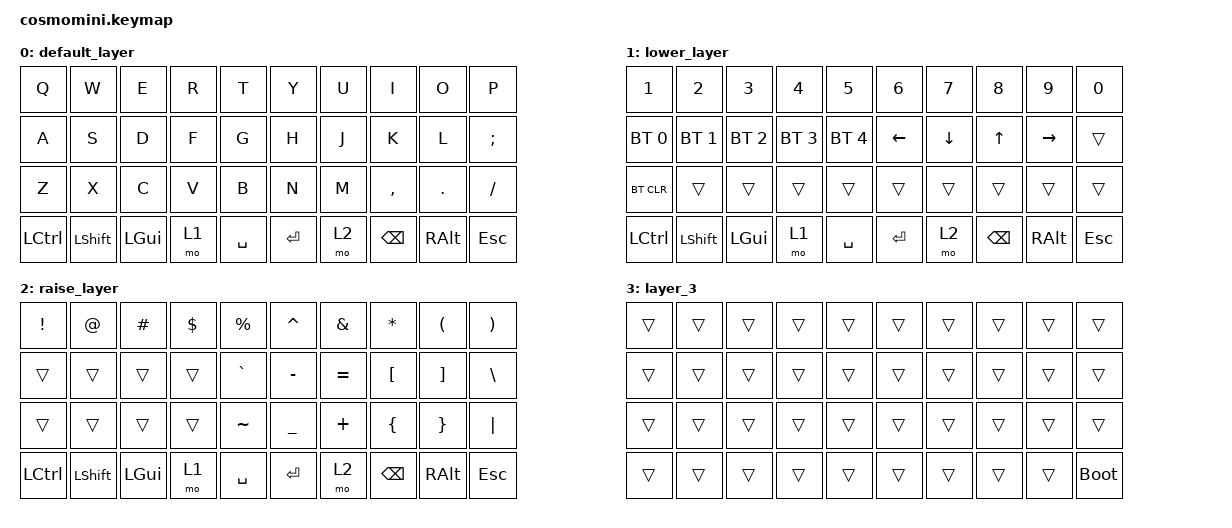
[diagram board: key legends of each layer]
/*
 * Copyright (c) 2020 The ZMK Contributors
 *
 * SPDX-License-Identifier: MIT
 */

#include <behaviors.dtsi>
#include <dt-bindings/zmk/bt.h>
#include <dt-bindings/zmk/keys.h>

/ {
    combos {
        compatible = "zmk,combos";

        backspace {
            bindings = <&kp BACKSPACE>;
            key-positions = <16 15>;
        };

        delete {
            bindings = <&kp DELETE>;
            key-positions = <10 24>;
        };
    };

    keymap {
        compatible = "zmk,keymap";

        default_layer {
            // -----------------------------------------------------------------------------------------
            // |  Q  |  W  |  E  |  R  |  T  |   |  Y  |  U   |  I  |  O  |  P  |
            // |  A  |  S  |  D  |  F  |  G  |   |  H  |  J   |  K  |  L  |  ;  |
            // |  Z  |  X  |  C  |  V  |  B  |   |  N  |  M   |  ,  |  .  |  /  |
            // | GUI | CTRL | SHFT | LWR | SPC |   | ENT | RSE  | BKSP | ALT | ESC |

            bindings = <
&kp Q      &kp W      &kp E     &kp R  &kp T      &kp Y    &kp U  &kp I      &kp O     &kp P
&kp A      &kp S      &kp D     &kp F  &kp G      &kp H    &kp J  &kp K      &kp L     &kp SEMI
&kp Z      &kp X      &kp C     &kp V  &kp B      &kp N    &kp M  &kp COMMA  &kp DOT   &kp FSLH
&kp LCTRL  &kp LSHFT  &kp LGUI  &mo 1  &kp SPACE  &kp RET  &mo 2  &kp BSPC   &kp RALT  &kp ESC
            >;
        };

        lower_layer {
            // -----------------------------------------------------------------------------------------
            // |  TAB |  1  |  2  |  3  |  4  |  5  |   |  6  |  7  |  8  |  9  |  0  | BKSP |
            // | BTCLR| BT1 | BT2 | BT3 | BT4 | BT5 |   | LFT | DWN |  UP | RGT |     |      |
            // | SHFT |     |     |     |     |     |   |     |     |     |     |     |      |
            // | GUI | CTRL | SHFT | LWR | SPC |   | ENT | RSE  | BKSP | ALT | ESC |

            bindings = <
&kp N1        &kp N2        &kp N3        &kp N4        &kp N5        &kp N6    &kp N7    &kp N8    &kp N9     &kp N0
&bt BT_SEL 0  &bt BT_SEL 1  &bt BT_SEL 2  &bt BT_SEL 3  &bt BT_SEL 4  &kp LEFT  &kp DOWN  &kp UP    &kp RIGHT  &trans
&bt BT_CLR    &trans        &trans        &trans        &trans        &trans    &trans    &trans    &trans     &trans
&kp LCTRL     &kp LSHFT     &kp LGUI      &mo 1         &kp SPACE     &kp RET   &mo 2     &kp BSPC  &kp RALT   &kp ESC
            >;
        };

        raise_layer {
            // -----------------------------------------------------------------------------------------
            // |  TAB |  !  |  @  |  #  |  $  |  %  |   |  ^  |  &  |  *  |  (  |  )  | BKSP |
            // | CTRL |     |     |     |     |     |   |  -  |  =  |  [  |  ]  |  \  |  `   |
            // | SHFT |     |     |     |     |     |   |  _  |  +  |  {  |  }  | "|" |  ~   |
            //                    | GUI |     | SPC |   | ENT |     | ALT |

            bindings = <
&kp EXCL   &kp AT     &kp HASH  &kp DLLR  &kp PRCNT  &kp CARET  &kp AMPS   &kp ASTRK  &kp LPAR  &kp RPAR
&trans     &trans     &trans    &trans    &kp GRAVE  &kp MINUS  &kp EQUAL  &kp LBKT   &kp RBKT  &kp BSLH
&trans     &trans     &trans    &trans    &kp TILDE  &kp UNDER  &kp PLUS   &kp LBRC   &kp RBRC  &kp PIPE
&kp LCTRL  &kp LSHFT  &kp LGUI  &mo 1     &kp SPACE  &kp RET    &mo 2      &kp BSPC   &kp RALT  &kp ESC
            >;
        };

        layer_3 {
            bindings = <
&trans  &trans  &trans  &trans  &trans  &trans  &trans  &trans  &trans  &trans
&trans  &trans  &trans  &trans  &trans  &trans  &trans  &trans  &trans  &trans
&trans  &trans  &trans  &trans  &trans  &trans  &trans  &trans  &trans  &trans
&trans  &trans  &trans  &trans  &trans  &trans  &trans  &trans  &trans  &bootloader
            >;
        };
    };

    conditional_layers {
        compatible = "zmk,conditional-layers";

        l3 {
            if-layers = <1 2>;
            then-layer = <3>;
        };
    };
};
